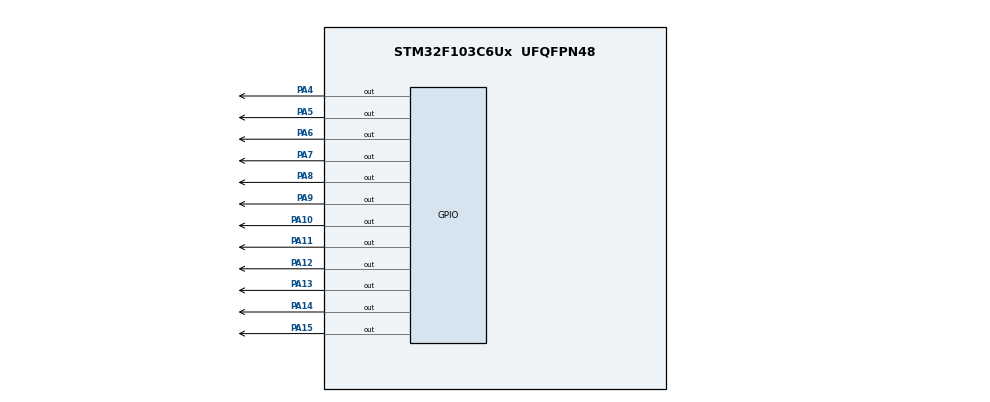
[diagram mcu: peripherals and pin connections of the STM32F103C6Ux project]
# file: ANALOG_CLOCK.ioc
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Mcu.Family=STM32F1
Mcu.Name=STM32F103C6Ux
Mcu.Package=UFQFPN48
NVIC.PriorityGroup=NVIC_PRIORITYGROUP_4
PA10.Signal=GPIO_Output
PA11.Signal=GPIO_Output
PA12.Signal=GPIO_Output
PA13.Signal=GPIO_Output
PA14.Signal=GPIO_Output
PA15.Signal=GPIO_Output
PA4.Signal=GPIO_Output
PA5.Signal=GPIO_Output
PA6.Signal=GPIO_Output
PA7.Signal=GPIO_Output
PA8.Signal=GPIO_Output
PA9.Signal=GPIO_Output
ProjectManager.HeapSize=0x200
ProjectManager.StackSize=0x400
ProjectManager.TargetToolchain=STM32CubeIDE
RCC.APB1Freq_Value=8000000
RCC.APB2Freq_Value=8000000
VP_SYS_VS_ND.Mode=No_Debug
board=custom

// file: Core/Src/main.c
/* USER CODE BEGIN Header */
/**
  ******************************************************************************
  * @file           : main.c
  * @brief          : Main program body
  ******************************************************************************
  * @attention
  *
  * <h2><center>&copy; Copyright (c) 2022 STMicroelectronics.
  * All rights reserved.</center></h2>
  *
  * This software component is licensed by ST under BSD 3-Clause license,
  * the "License"; You may not use this file except in compliance with the
  * License. You may obtain a copy of the License at:
  *                        opensource.org/licenses/BSD-3-Clause
  *
  ******************************************************************************
  */
/* USER CODE END Header */
#include "main.h"

void SystemClock_Config(void);
static void MX_GPIO_Init(void);

/* USER CODE BEGIN 0 */

void clearAllClock(){
	  HAL_GPIO_WritePin(GPIOA, GPIO_PIN_4, SET);
	  HAL_GPIO_WritePin(GPIOA, GPIO_PIN_5, SET);
	  HAL_GPIO_WritePin(GPIOA, GPIO_PIN_6, SET);
	  HAL_GPIO_WritePin(GPIOA, GPIO_PIN_7, SET);
	  HAL_GPIO_WritePin(GPIOA, GPIO_PIN_8, SET);
	  HAL_GPIO_WritePin(GPIOA, GPIO_PIN_9, SET);
	  HAL_GPIO_WritePin(GPIOA, GPIO_PIN_10, SET);
	  HAL_GPIO_WritePin(GPIOA, GPIO_PIN_11, SET);
	  HAL_GPIO_WritePin(GPIOA, GPIO_PIN_12, SET);
	  HAL_GPIO_WritePin(GPIOA, GPIO_PIN_13, SET);
	  HAL_GPIO_WritePin(GPIOA, GPIO_PIN_14, SET);
	  HAL_GPIO_WritePin(GPIOA, GPIO_PIN_15, SET);
  }

void clearNumberOnClock(int num){
		  if(num == 0){
			  HAL_GPIO_WritePin(GPIOA, GPIO_PIN_4, SET);
		  }
		  if(num == 1){
		  		  HAL_GPIO_WritePin(GPIOA, GPIO_PIN_5, SET);
		  }
		  if(num == 2){
		  		  HAL_GPIO_WritePin(GPIOA, GPIO_PIN_6, SET);
		  }
		  if(num == 3){
		  		  HAL_GPIO_WritePin(GPIOA, GPIO_PIN_7, SET);
		  }
		  if(num == 4){
		  		  HAL_GPIO_WritePin(GPIOA, GPIO_PIN_8, SET);
		  }
		  if(num == 5){
		  		  HAL_GPIO_WritePin(GPIOA, GPIO_PIN_9, SET);
		  }
		  if(num == 6){
		  		  HAL_GPIO_WritePin(GPIOA, GPIO_PIN_10, SET);
		  }
		  if(num == 7){
		  		  HAL_GPIO_WritePin(GPIOA, GPIO_PIN_11, SET);
		  }
		  if(num == 8){
		  		  HAL_GPIO_WritePin(GPIOA, GPIO_PIN_12, SET);
		  }
		  if(num == 9){
		  		  HAL_GPIO_WritePin(GPIOA, GPIO_PIN_13, SET);
		  }
		  if(num == 10){
		  		  HAL_GPIO_WritePin(GPIOA, GPIO_PIN_14, SET);
		  }
		  if(num == 11){
		  		  HAL_GPIO_WritePin(GPIOA, GPIO_PIN_15, SET);
		  }
}

void setNumberOnClock(int num){
	  if(num == 0){
		  HAL_GPIO_WritePin(GPIOA, GPIO_PIN_4, RESET);
	  }
	  if(num == 1){
	  		  HAL_GPIO_WritePin(GPIOA, GPIO_PIN_5, RESET);
	  	  }
	  if(num == 2){
	  		  HAL_GPIO_WritePin(GPIOA, GPIO_PIN_6, RESET);
	  	  }
	  if(num == 3){
	  		  HAL_GPIO_WritePin(GPIOA, GPIO_PIN_7, RESET);
	  	  }
	  if(num == 4){
	  		  HAL_GPIO_WritePin(GPIOA, GPIO_PIN_8, RESET);
	  	  }
	  if(num == 5){
	  		  HAL_GPIO_WritePin(GPIOA, GPIO_PIN_9, RESET);
	  	  }
	  if(num == 6){
	  		  HAL_GPIO_WritePin(GPIOA, GPIO_PIN_10, RESET);
	  	  }
	  if(num == 7){
	  		  HAL_GPIO_WritePin(GPIOA, GPIO_PIN_11, RESET);
	  	  }
	  if(num == 8){
	  		  HAL_GPIO_WritePin(GPIOA, GPIO_PIN_12, RESET);
	  	  }
	  if(num == 9){
	  		  HAL_GPIO_WritePin(GPIOA, GPIO_PIN_13, RESET);
	  	  }
	  if(num == 10){
	  		  HAL_GPIO_WritePin(GPIOA, GPIO_PIN_14, RESET);
	  	  }
	  if(num == 11){
	  		  HAL_GPIO_WritePin(GPIOA, GPIO_PIN_15, RESET);
	  	  }
  }

void setClock(int sec, int min, int hour){
	clearAllClock();
	setNumberOnClock(sec/5);
	setNumberOnClock(min/5);
	setNumberOnClock(hour);
}

/* USER CODE END 0 */

int main(void)
{

  /* MCU Configuration--------------------------------------------------------*/

  /* Reset of all peripherals, Initializes the Flash interface and the Systick. */
  HAL_Init();

  /* Configure the system clock */
  SystemClock_Config();

  /* Initialize all configured peripherals */
  MX_GPIO_Init();
  /* Infinite loop */
  /* USER CODE BEGIN WHILE */

  clearAllClock();
  //Give any time. Here my start time is 12h5m0s
  int sec = 0;
  int min = 5;
  int hour = 12;
  while (1)
  {
	 if(sec == 60){  //if seconds equals 60 then 1 minute
		 sec = 0;
		 min++;
	 }
	 if(min == 60){	//if minutes equals 60 then 1 hour
		 min = 0;
		 hour++;
	 }
	 if(hour == 12){ //if the hour signal is at 12 is equivalent to 0 hour
		 hour = 0;
	 }
	 setClock(sec, min, hour); // show 3 led signals for hour, minute and second information

	 HAL_Delay(10);  //I set delay time to 10ms to saving time simulation
	 sec++;
  }
  /* USER CODE END 3 */
}

void SystemClock_Config(void)
{
  RCC_OscInitTypeDef RCC_OscInitStruct = {0};
  RCC_ClkInitTypeDef RCC_ClkInitStruct = {0};

  /** Initializes the RCC Oscillators according to the specified parameters
  * in the RCC_OscInitTypeDef structure.
  */
  RCC_OscInitStruct.OscillatorType = RCC_OSCILLATORTYPE_HSI;
  RCC_OscInitStruct.HSIState = RCC_HSI_ON;
  RCC_OscInitStruct.HSICalibrationValue = RCC_HSICALIBRATION_DEFAULT;
  RCC_OscInitStruct.PLL.PLLState = RCC_PLL_NONE;
  if (HAL_RCC_OscConfig(&RCC_OscInitStruct) != HAL_OK)
  {
    Error_Handler();
  }
  /** Initializes the CPU, AHB and APB buses clocks
  */
  RCC_ClkInitStruct.ClockType = RCC_CLOCKTYPE_HCLK|RCC_CLOCKTYPE_SYSCLK
                              |RCC_CLOCKTYPE_PCLK1|RCC_CLOCKTYPE_PCLK2;
  RCC_ClkInitStruct.SYSCLKSource = RCC_SYSCLKSOURCE_HSI;
  RCC_ClkInitStruct.AHBCLKDivider = RCC_SYSCLK_DIV1;
  RCC_ClkInitStruct.APB1CLKDivider = RCC_HCLK_DIV1;
  RCC_ClkInitStruct.APB2CLKDivider = RCC_HCLK_DIV1;

  if (HAL_RCC_ClockConfig(&RCC_ClkInitStruct, FLASH_LATENCY_0) != HAL_OK)
  {
    Error_Handler();
  }
}

static void MX_GPIO_Init(void)
{
  GPIO_InitTypeDef GPIO_InitStruct = {0};

  /* GPIO Ports Clock Enable */
  __HAL_RCC_GPIOA_CLK_ENABLE();

  /*Configure GPIO pin Output Level */
  HAL_GPIO_WritePin(GPIOA, GPIO_PIN_4|GPIO_PIN_5|GPIO_PIN_6|GPIO_PIN_7
                          |GPIO_PIN_8|GPIO_PIN_9|GPIO_PIN_10|GPIO_PIN_11
                          |GPIO_PIN_12|GPIO_PIN_13|GPIO_PIN_14|GPIO_PIN_15, GPIO_PIN_RESET);

  /*Configure GPIO pins : PA4 PA5 PA6 PA7
                           PA8 PA9 PA10 PA11
                           PA12 PA13 PA14 PA15 */
  GPIO_InitStruct.Pin = GPIO_PIN_4|GPIO_PIN_5|GPIO_PIN_6|GPIO_PIN_7
                          |GPIO_PIN_8|GPIO_PIN_9|GPIO_PIN_10|GPIO_PIN_11
                          |GPIO_PIN_12|GPIO_PIN_13|GPIO_PIN_14|GPIO_PIN_15;
  GPIO_InitStruct.Mode = GPIO_MODE_OUTPUT_PP;
  GPIO_InitStruct.Pull = GPIO_NOPULL;
  GPIO_InitStruct.Speed = GPIO_SPEED_FREQ_LOW;
  HAL_GPIO_Init(GPIOA, &GPIO_InitStruct);

}

void Error_Handler(void)
{
  __disable_irq();
  while (1)
  {
  }
}

/************************ (C) COPYRIGHT STMicroelectronics *****END OF FILE****/
